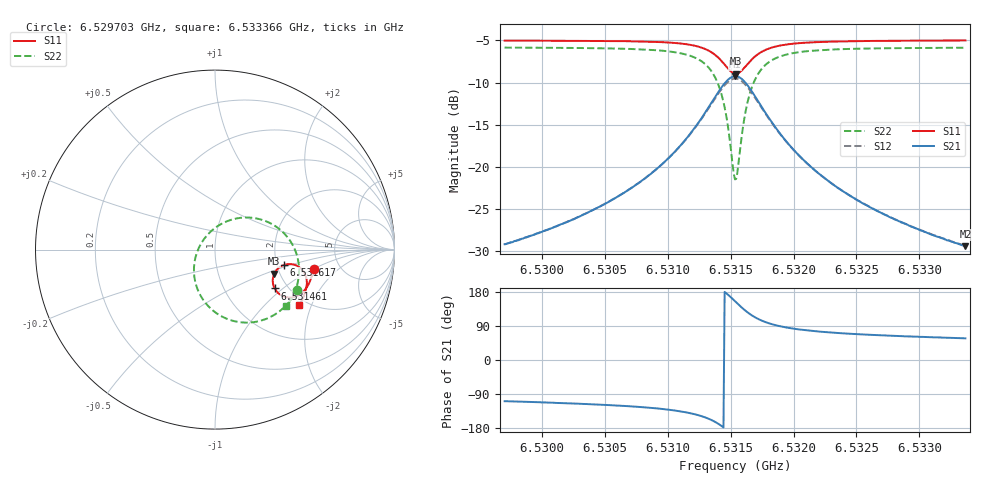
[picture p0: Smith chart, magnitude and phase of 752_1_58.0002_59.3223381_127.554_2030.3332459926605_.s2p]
#  HZ  S  RI  R  50.00
! Rohde & Schwarz Vector Network Analyzer
! Rohde-Schwarz,ZNB20-2Port,1311601062101988,3.16
! Created: UTC 3/21/2024, 1:24:02 AM
! freq[Hz]  re:S11  im:S11  re:S21  im:S21  re:S12  im:S12  re:S22  im:S22
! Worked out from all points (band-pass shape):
!   401 points, 6.529703 GHz to 6.533366 GHz, reference 50 ohm
!   highest |S21| = -9.25 dB at 6.531534 GHz (marker M1); lowest = -29.4 dB at 6.533366 GHz (marker M2)
!   |S21| within 3 dB of the highest: 6.531354 GHz to 6.53172 GHz (365.7 kHz wide, 0.0056 % of centre)
!   lowest |S11| = -9.0 dB at 6.531544 GHz (marker M3), VSWR 2.11, Z = 93.5 - j28.8 ohm
!   |S11| at or under -10 dB: nowhere
!   |S22| runs from -21.5 to -5.9 dB; largest |S21 - S12| = 0.015
!   S11 on the Smith chart (normalised r, x): 6.529703 GHz: 3.21, -0.99; 6.531461 GHz: 1.71, -0.88; 6.531617 GHz: 2.19, -0.44; 6.533366 GHz: 1.81, -1.64
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6.5297031e9  0.5498 -0.1064  -0.0112 -0.033  -0.0119 -0.0328  0.4563 -0.2262
6.5303166e9  0.5359 -0.1584  -0.0224 -0.0466  -0.0237 -0.046  0.4191 -0.284
6.5306737e9  0.5212 -0.1929  -0.0379 -0.0612  -0.0395 -0.0603  0.3788 -0.3273
6.5309301e9  0.5027 -0.2222  -0.062 -0.0785  -0.0643 -0.0766  0.3247 -0.3669
6.5311499e9  0.4701 -0.2515  -0.1105 -0.0983  -0.1134 -0.0938  0.2282 -0.4022
6.5313055e9  0.4189 -0.2667  -0.1899 -0.099  -0.1915 -0.0906  0.0849 -0.3923
6.5313971e9  0.3683 -0.2539  -0.2675 -0.0599  -0.2644 -0.0486  -0.0411 -0.311
6.5314337e9  0.3463 -0.2361  -0.2995 -0.0233  -0.293 -0.0117  -0.0874 -0.2431
6.5314612e9  0.3324 -0.2165  -0.3183 0.0147  -0.3089 0.0252  -0.1107 -0.1762
6.5315161e9  0.3223 -0.1626  -0.3238 0.1118  -0.3104 0.1165  -0.1008 -0.0167
6.5315345e9  0.3267 -0.1434  -0.3128 0.1448  -0.2994 0.1472  -0.0768 0.0351
6.5315436e9  0.3302 -0.1342  -0.3049 0.1606  -0.2915 0.1618  -0.0609 0.0593
6.5315619e9  0.3403 -0.1174  -0.2847 0.1889  -0.272 0.188  -0.0227 0.1018
6.5316169e9  0.3839 -0.0854  -0.2041 0.2413  -0.196 0.2366  0.1182 0.1734
6.5316443e9  0.4074 -0.0805  -0.1631 0.2488  -0.157 0.244  0.1877 0.1788
6.531681e9  0.4351 -0.0825  -0.1152 0.2454  -0.1115 0.2409  0.2672 0.1641
6.5317725e9  0.4802 -0.1067  -0.0386 0.2079  -0.0372 0.2056  0.3906 0.0848
6.5319099e9  0.5056 -0.1468  0.00572 0.1516  0.00694 0.1508  0.4549 -0.0269
6.532148e9  0.5114 -0.1946  0.0226 0.096  0.0238 0.0957  0.4675 -0.1399
6.532441e9  0.5043 -0.2324  0.0239 0.0637  0.0249 0.0634  0.453 -0.2118
6.5327615e9  0.4927 -0.2633  0.0219 0.0455  0.0229 0.0454  0.4334 -0.2594
6.5333658e9  0.468 -0.3101  0.0184 0.0285  0.019 0.0283  0.3977 -0.3168
